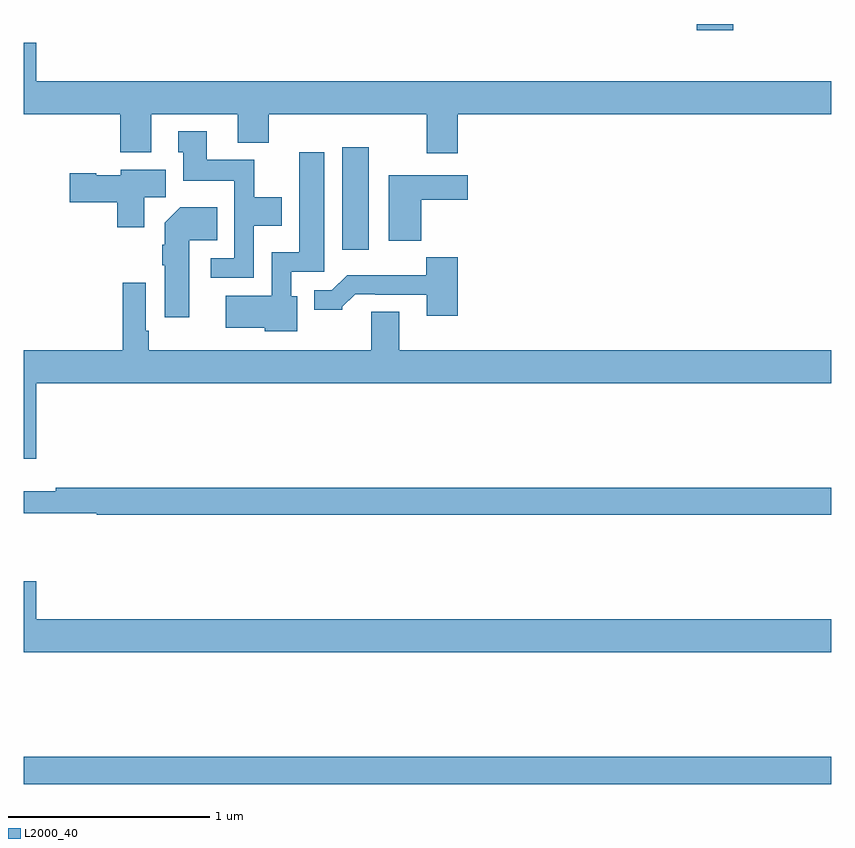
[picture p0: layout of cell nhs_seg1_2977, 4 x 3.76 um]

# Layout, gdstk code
import gdstk
lib = gdstk.Library(unit=1e-6, precision=1e-09)
def R(c, l, rs):  # rectangles x0, y0, x1, y1
    for r in rs: c.add(gdstk.rectangle(r[:2], r[2:], *l))
def P(c, l, *ps):  # polygons
    for p in ps: c.add(gdstk.Polygon(p, *l))
L2000_40 = (2000, 40)

nhs_seg1_2977 = lib.new_cell('nhs_seg1_2977')
R(nhs_seg1_2977, L2000_40, [(273,528.436,277,528.572), (274.577,531.081,274.708,531.589), (276.332,532.167,276.515,532.199)])
P(nhs_seg1_2977, L2000_40, [(273.064,532.105),(273,532.105),(273,531.752),(273.479,531.752),(273.479,531.563),(273.631,531.563),(273.631,531.752),(274.061,531.752),(274.061,531.611),(274.214,531.611),(274.214,531.752),(274.997,531.752),(274.997,531.558),(275.15,531.558),(275.15,531.752),(277,531.752),(277,531.916),(273.064,531.916)],
  [(274.14,531.2),(274.279,531.2),(274.279,531.34),(274.143,531.34),(274.143,531.526),(273.907,531.526),(273.907,531.667),(273.767,531.667),(273.767,531.564),(273.791,531.564),(273.791,531.422),(274.044,531.422),(274.044,531.039),(273.927,531.039),(273.927,530.943),(274.14,530.943)],
  [(274.354,530.85),(274.326,530.85),(274.326,530.973),(274.489,530.973),(274.489,531.565),(274.364,531.565),(274.364,531.07),(274.23,531.07),(274.23,530.854),(274.002,530.854),(274.002,530.696),(274.194,530.696),(274.194,530.678),(274.354,530.678)],
  [(273.598,531.34),(273.703,531.34),(273.703,531.478),(273.48,531.478),(273.48,531.451),(273.36,531.451),(273.36,531.459),(273.228,531.459),(273.228,531.317),(273.464,531.317),(273.464,531.192),(273.598,531.192)],
  [(274.97,531.329),(275.2,531.329),(275.2,531.451),(274.808,531.451),(274.808,531.125),(274.97,531.125)],
  [(273.82,531.128),(273.959,531.128),(273.959,531.292),(273.776,531.292),(273.698,531.214),(273.698,531.107),(273.686,531.107),(273.686,531.004),(273.698,531.004),(273.698,530.748),(273.82,530.748)],
  [(275.15,531.043),(274.995,531.043),(274.995,530.956),(274.603,530.956),(274.527,530.88),(274.439,530.88),(274.439,530.783),(274.578,530.783),(274.578,530.798),(274.642,530.862),(274.741,530.862),(274.741,530.859),(274.997,530.859),(274.997,530.754),(275.15,530.754)],
  [(273,530.046),(273.064,530.046),(273.064,530.42),(277,530.42),(277,530.584),(274.861,530.584),(274.861,530.774),(274.721,530.774),(274.721,530.584),(273.619,530.584),(273.619,530.68),(273.606,530.68),(273.606,530.917),(273.49,530.917),(273.49,530.584),(273,530.584)],
  [(277,529.904),(273.16,529.904),(273.16,529.885),(273,529.885),(273,529.776),(273.362,529.776),(273.362,529.768),(277,529.768)],
  [(277,529.252),(273.064,529.252),(273.064,529.441),(273,529.441),(273,529.088),(277,529.088)])

lib.write_gds('nhs_seg1_2977.gds')
